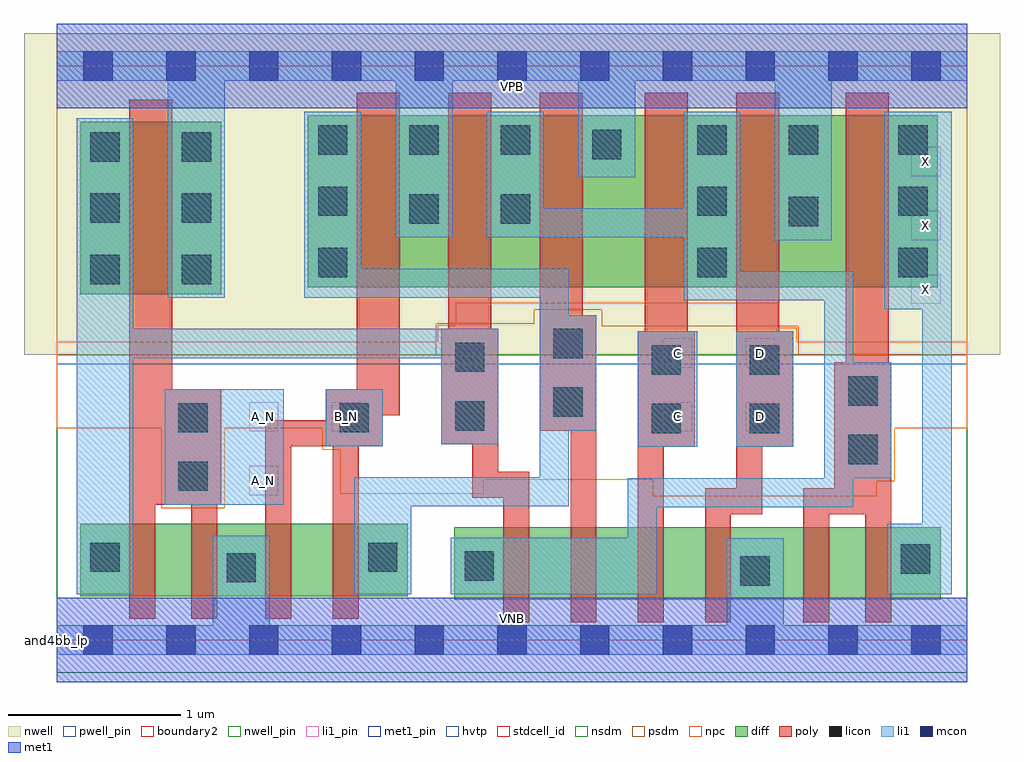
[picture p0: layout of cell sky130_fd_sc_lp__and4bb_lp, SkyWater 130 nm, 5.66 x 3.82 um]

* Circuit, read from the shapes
.subckt sky130_fd_sc_lp__and4bb_lp A_N B_N C D VGND VNB VPB VPWR X
XM1 n1 A_N n2 VNB sky130_fd_pr__nfet_01v8 w=0.42 l=0.15
XM2 VGND A_N n1 VNB sky130_fd_pr__nfet_01v8 w=0.42 l=0.15
XM3 n3 B_N VGND VNB sky130_fd_pr__nfet_01v8 w=0.42 l=0.15
XM4 n4 B_N n3 VNB sky130_fd_pr__nfet_01v8 w=0.42 l=0.15
XM5 n5 n2 n6 VNB sky130_fd_pr__nfet_01v8 w=0.42 l=0.15
XM6 n7 n4 n5 VNB sky130_fd_pr__nfet_01v8 w=0.42 l=0.15
XM7 n8 C n7 VNB sky130_fd_pr__nfet_01v8 w=0.42 l=0.15
XM8 VGND D n8 VNB sky130_fd_pr__nfet_01v8 w=0.42 l=0.15
XM9 n9 n6 VGND VNB sky130_fd_pr__nfet_01v8 w=0.42 l=0.15
XM10 X n6 n9 VNB sky130_fd_pr__nfet_01v8 w=0.42 l=0.15
XM11 VPWR A_N n2 VPB sky130_fd_pr__pfet_01v8_hvt w=1 l=0.25
XM12 VPWR B_N n4 VPB sky130_fd_pr__pfet_01v8_hvt w=1 l=0.25
XM13 n6 n2 VPWR VPB sky130_fd_pr__pfet_01v8_hvt w=1 l=0.25
XM14 VPWR n4 n6 VPB sky130_fd_pr__pfet_01v8_hvt w=1 l=0.25
XM15 n6 C VPWR VPB sky130_fd_pr__pfet_01v8_hvt w=1 l=0.25
XM16 VPWR D n6 VPB sky130_fd_pr__pfet_01v8_hvt w=1 l=0.25
XM17 X n6 VPWR VPB sky130_fd_pr__pfet_01v8_hvt w=1 l=0.25
.ends

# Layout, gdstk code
import gdstk
lib = gdstk.Library(unit=1e-6, precision=1e-09)
def R(c, l, rs):  # rectangles x0, y0, x1, y1
    for r in rs: c.add(gdstk.rectangle(r[:2], r[2:], *l))
def A(c, l, x, y, w, h, nx, ny, dx, dy):  # array of equal rectangles
    R(c, l, [(x+i*dx, y+j*dy, x+i*dx+w, y+j*dy+h) for i in range(nx) for j in range(ny)])
def P(c, l, *ps):  # polygons
    for p in ps: c.add(gdstk.Polygon(p, *l))
nwell_pin = (64, 16)
nwell = (64, 20)
diff = (65, 20)
poly = (66, 20)
licon = (66, 44)
li1_pin = (67, 16)
li1 = (67, 20)
mcon = (67, 44)
met1_pin = (68, 16)
met1 = (68, 20)
hvtp = (78, 44)
stdcell_id = (81, 4)
nsdm = (93, 44)
psdm = (94, 20)
npc = (95, 20)
pwell_pin = (122, 16)
boundary2 = (236, 0)

sky130_fd_sc_lp__and4bb_ = lib.new_cell('sky130_fd_sc_lp__and4bb_lp')
R(sky130_fd_sc_lp__and4bb_, nwell_pin, [(0,3.085,5.28,3.33)])
R(sky130_fd_sc_lp__and4bb_, nwell, [(-0.19,1.655,5.47,3.52)])
R(sky130_fd_sc_lp__and4bb_, diff, [(2.305,0.235,5.125,0.655), (0.135,0.255,2.035,0.675), (0.135,2.005,0.955,3.005), (1.455,2.045,5.11,3.045)])
P(sky130_fd_sc_lp__and4bb_, poly, [(0.955,1.455),(0.67,1.455),(0.67,3.135),(0.42,3.135),(0.42,0.125),(0.57,0.125),(0.57,0.785),(0.78,0.785),(0.78,0.125),(0.93,0.125),(0.93,0.785),(0.955,0.785)],
  [(1.99,3.175),(1.74,3.175),(1.74,1.455),(1.56,1.455),(1.56,1.275),(1.21,1.275),(1.21,0.125),(1.36,0.125),(1.36,1.125),(1.6,1.125),(1.6,0.125),(1.75,0.125),(1.75,1.125),(1.89,1.125),(1.89,1.305),(1.99,1.305)],
  [(2.74,0.975),(2.56,0.975),(2.56,1.805),(2.52,1.805),(2.52,3.175),(2.27,3.175),(2.27,1.805),(2.23,1.805),(2.23,1.135),(2.41,1.135),(2.41,0.825),(2.59,0.825),(2.59,0.105),(2.74,0.105)],
  [(3.13,1.885),(3.05,1.885),(3.05,3.175),(2.8,3.175),(2.8,1.215),(2.98,1.215),(2.98,0.105),(3.13,0.105)],
  [(3.7,1.79),(3.66,1.79),(3.66,3.175),(3.41,3.175),(3.41,1.79),(3.37,1.79),(3.37,0.105),(3.52,0.105),(3.52,1.12),(3.7,1.12)],
  [(4.27,1.79),(4.19,1.79),(4.19,3.175),(3.94,3.175),(3.94,0.88),(3.76,0.88),(3.76,0.105),(3.91,0.105),(3.91,0.73),(4.09,0.73),(4.09,1.12),(4.27,1.12)],
  [(4.84,1.61),(4.825,1.61),(4.825,3.175),(4.575,3.175),(4.575,1.61),(4.51,1.61),(4.51,0.88),(4.33,0.88),(4.33,0.105),(4.48,0.105),(4.48,0.73),(4.69,0.73),(4.69,0.105),(4.84,0.105)])
A(sky130_fd_sc_lp__and4bb_, licon, 0.195, 2.065, 0.17, 0.17, 1, 3, 0, 0.355)
A(sky130_fd_sc_lp__and4bb_, licon, 0.725, 2.065, 0.17, 0.17, 1, 3, 0, 0.355)
A(sky130_fd_sc_lp__and4bb_, licon, 3.715, 2.105, 0.17, 0.17, 1, 3, 0, 0.355)
A(sky130_fd_sc_lp__and4bb_, licon, 4.88, 2.105, 0.17, 0.17, 1, 3, 0, 0.355)
A(sky130_fd_sc_lp__and4bb_, licon, 1.515, 2.815, 0.17, 0.17, 3, 1, 0.53, 0)
R(sky130_fd_sc_lp__and4bb_, licon, [(3.965,0.315,4.135,0.485), (0.985,0.335,1.155,0.505), (2.365,0.345,2.535,0.515), (4.895,0.385,5.065,0.555), (0.195,0.395,0.365,0.565), (1.805,0.395,1.975,0.565), (0.705,0.865,0.875,1.035), (4.59,1.02,4.76,1.19), (3.45,1.2,3.62,1.37), (4.02,1.2,4.19,1.37), (0.705,1.205,0.875,1.375), (1.64,1.205,1.81,1.375), (2.31,1.215,2.48,1.385), (2.88,1.295,3.05,1.465), (4.59,1.36,4.76,1.53), (3.45,1.54,3.62,1.71), (4.02,1.54,4.19,1.71), (2.31,1.555,2.48,1.725), (2.88,1.635,3.05,1.805), (1.515,2.105,1.685,2.275), (4.245,2.4,4.415,2.57), (2.045,2.415,2.215,2.585), (2.575,2.415,2.745,2.585), (1.515,2.46,1.685,2.63), (3.105,2.79,3.275,2.96), (4.245,2.815,4.415,2.985)])
A(sky130_fd_sc_lp__and4bb_, li1_pin, 4.955, 1.95, 0.17, 0.17, 1, 3, 0, 0.37)
R(sky130_fd_sc_lp__and4bb_, li1_pin, [(1.115,0.84,1.285,1.01), (1.115,1.21,1.285,1.38), (1.595,1.21,1.765,1.38), (3.515,1.21,3.685,1.38), (3.995,1.21,4.165,1.38), (3.515,1.58,3.685,1.75), (3.995,1.58,4.165,1.75)])
R(sky130_fd_sc_lp__and4bb_, li1, [(0.625,0.785,1.315,1.455), (3.37,1.12,3.715,1.79), (3.94,1.12,4.27,1.79), (1.56,1.125,1.89,1.455)])
P(sky130_fd_sc_lp__and4bb_, li1, [(0.645,1.985),(0.645,3.245),(0,3.245),(0,3.415),(5.28,3.415),(5.28,3.245),(4.495,3.245),(4.495,2.32),(4.165,2.32),(4.165,3.245),(3.355,3.245),(3.355,2.685),(3.025,2.685),(3.025,3.245),(2.295,3.245),(2.295,2.335),(1.965,2.335),(1.965,3.245),(0.975,3.245),(0.975,1.985)],
  [(3.885,0.085),(3.885,0.59),(4.215,0.59),(4.215,0.085),(5.28,0.085),(5.28,-0.085),(0,-0.085),(0,0.085),(0.905,0.085),(0.905,0.605),(1.235,0.605),(1.235,0.085)],
  [(1.725,0.945),(2.8,0.945),(2.8,1.985),(1.435,1.985),(1.435,3.065),(1.765,3.065),(1.765,2.155),(2.97,2.155),(2.97,1.885),(3.13,1.885),(3.13,1.215),(2.97,1.215),(2.97,0.775),(2.055,0.775),(2.055,0.265),(1.725,0.265)],
  [(0.445,1.805),(2.56,1.805),(2.56,1.135),(2.23,1.135),(2.23,1.635),(0.445,1.635),(0.445,0.265),(0.115,0.265),(0.115,3.025),(0.445,3.025)],
  [(3.31,0.595),(3.31,0.94),(4.45,0.94),(4.45,1.97),(3.635,1.97),(3.635,2.335),(2.495,2.335),(2.495,3.065),(2.825,3.065),(2.825,2.505),(3.635,2.505),(3.635,3.065),(3.965,3.065),(3.965,2.14),(4.62,2.14),(4.62,1.61),(4.84,1.61),(4.84,0.94),(4.62,0.94),(4.62,0.77),(3.48,0.77),(3.48,0.265),(2.285,0.265),(2.285,0.595)],
  [(5.02,0.675),(5.02,1.92),(4.8,1.92),(4.8,3.065),(5.19,3.065),(5.19,0.265),(4.815,0.265),(4.815,0.675)])
A(sky130_fd_sc_lp__and4bb_, mcon, 0.155, -0.085, 0.17, 0.17, 11, 2, 0.48, 3.33)
R(sky130_fd_sc_lp__and4bb_, met1_pin, [(0,0,5.28,0.245), (0,3.085,5.28,3.33)])
R(sky130_fd_sc_lp__and4bb_, met1, [(0,-0.245,5.28,0.245), (0,3.085,5.28,3.575)])
R(sky130_fd_sc_lp__and4bb_, hvtp, [(0,1.6,5.28,3.33)])
R(sky130_fd_sc_lp__and4bb_, stdcell_id, [(0,0,5.28,3.33)])
R(sky130_fd_sc_lp__and4bb_, nsdm, [(0,-0.19,5.28,1.655)])
P(sky130_fd_sc_lp__and4bb_, psdm, [(5.28,3.52),(0,3.52),(0,1.655),(2.2,1.655),(2.2,1.835),(2.77,1.835),(2.77,1.915),(3.16,1.915),(3.16,1.82),(4.3,1.82),(4.3,1.655),(5.28,1.655)])
P(sky130_fd_sc_lp__and4bb_, npc, [(5.28,1.73),(4.29,1.73),(4.29,1.81),(4.185,1.81),(4.185,1.955),(2.315,1.955),(2.315,1.825),(2.21,1.825),(2.21,1.73),(0,1.73),(0,1.23),(0.605,1.23),(0.605,0.765),(0.975,0.765),(0.975,1.23),(1.54,1.23),(1.54,1.105),(1.645,1.105),(1.645,0.85),(2.475,0.85),(2.475,0.93),(3.455,0.93),(3.455,0.835),(4.755,0.835),(4.755,0.92),(4.86,0.92),(4.86,1.23),(5.28,1.23)])
R(sky130_fd_sc_lp__and4bb_, pwell_pin, [(0,0,5.28,0.245)])
R(sky130_fd_sc_lp__and4bb_, boundary2, [(0,0,5.28,3.33)])
sky130_fd_sc_lp__and4bb_.add(gdstk.Label('VNB', (2.64,0.123), layer=64, texttype=59))
sky130_fd_sc_lp__and4bb_.add(gdstk.Label('VPB', (2.64,3.208), layer=64, texttype=5))
sky130_fd_sc_lp__and4bb_.add(gdstk.Label('and4bb_lp', (0,0), layer=83, texttype=44))
sky130_fd_sc_lp__and4bb_.add(gdstk.Label('VPWR', (2.64,3.208), layer=68, texttype=5))
sky130_fd_sc_lp__and4bb_.add(gdstk.Label('VGND', (2.64,0.123), layer=68, texttype=5))
sky130_fd_sc_lp__and4bb_.add(gdstk.Label('B_N', (1.68,1.295), layer=67, texttype=5))
sky130_fd_sc_lp__and4bb_.add(gdstk.Label('D', (4.08,1.295), layer=67, texttype=5))
sky130_fd_sc_lp__and4bb_.add(gdstk.Label('D', (4.08,1.665), layer=67, texttype=5))
sky130_fd_sc_lp__and4bb_.add(gdstk.Label('C', (3.6,1.295), layer=67, texttype=5))
sky130_fd_sc_lp__and4bb_.add(gdstk.Label('C', (3.6,1.665), layer=67, texttype=5))
sky130_fd_sc_lp__and4bb_.add(gdstk.Label('X', (5.04,2.035), layer=67, texttype=5))
sky130_fd_sc_lp__and4bb_.add(gdstk.Label('X', (5.04,2.405), layer=67, texttype=5))
sky130_fd_sc_lp__and4bb_.add(gdstk.Label('X', (5.04,2.775), layer=67, texttype=5))
sky130_fd_sc_lp__and4bb_.add(gdstk.Label('A_N', (1.2,0.925), layer=67, texttype=5))
sky130_fd_sc_lp__and4bb_.add(gdstk.Label('A_N', (1.2,1.295), layer=67, texttype=5))

lib.write_gds('sky130_fd_sc_lp__and4bb_lp.gds')
